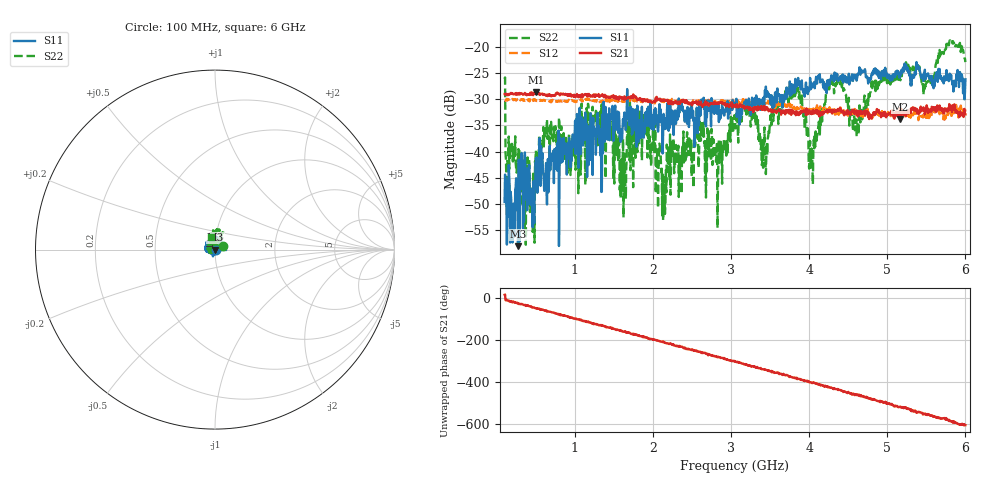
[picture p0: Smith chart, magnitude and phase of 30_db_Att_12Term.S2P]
!Created with skrf (http://scikit-rf.org).
# MHz S RI R 50.0
!freq ReS11 ImS11 ReS21 ImS21 ReS12 ImS12 ReS22 ImS22
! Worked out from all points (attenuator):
!   1001 points, 100 MHz to 6 GHz, reference 50 ohm
!   highest |S21| = -28.66 dB at 501.2 MHz (marker M1); lowest = -33.8 dB at 5.168 GHz (marker M2)
!   lowest |S11| = -58.0 dB at 271.1 MHz (marker M3), VSWR 1.00, Z = 50.1 + j0.0516 ohm
!   |S11| at or under -10 dB: start of sweep to end of sweep
!   |S22| runs from -57.7 to -18.8 dB; largest |S21 - S12| = 0.024
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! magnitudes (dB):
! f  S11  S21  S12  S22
! 100 MHz  -49.6  -29.0  -30.2  -26.1
! 141.3 MHz  -52.5  -29.3  -30.0  -42.4
! 271.1 MHz  -58.0  -28.9  -30.1  -40.4
! 501.2 MHz  -41.3  -28.7  -30.2  -39.8
! 636.9 MHz  -47.2  -29.3  -30.2  -36.4
! 1.085 GHz  -33.5  -29.1  -30.4  -30.9
! 1.345 GHz  -47.6  -29.3  -30.4  -31.0
! 1.628 GHz  -33.5  -30.1  -30.4  -41.9
! 1.894 GHz  -36.3  -30.0  -30.2  -35.6
! 2.071 GHz  -35.1  -30.0  -30.1  -44.1
! 2.141 GHz  -33.8  -30.3  -30.6  -47.0
! 2.625 GHz  -30.7  -31.2  -30.5  -36.8
! 2.855 GHz  -33.9  -30.7  -30.5  -38.7
! 3.05 GHz  -31.1  -31.5  -30.7  -34.1
! 3.422 GHz  -31.7  -31.3  -30.7  -38.0
! 3.829 GHz  -27.3  -33.1  -32.2  -28.4
! 4.035 GHz  -27.3  -32.8  -31.6  -39.6
! 4.271 GHz  -26.3  -32.4  -32.3  -27.1
! 4.602 GHz  -25.3  -32.6  -32.7  -33.9
! 5.021 GHz  -26.1  -32.6  -32.4  -26.9
! 5.168 GHz  -25.4  -33.8  -32.9  -26.4
! 6 GHz  -26.2  -32.9  -32.4  -22.9
